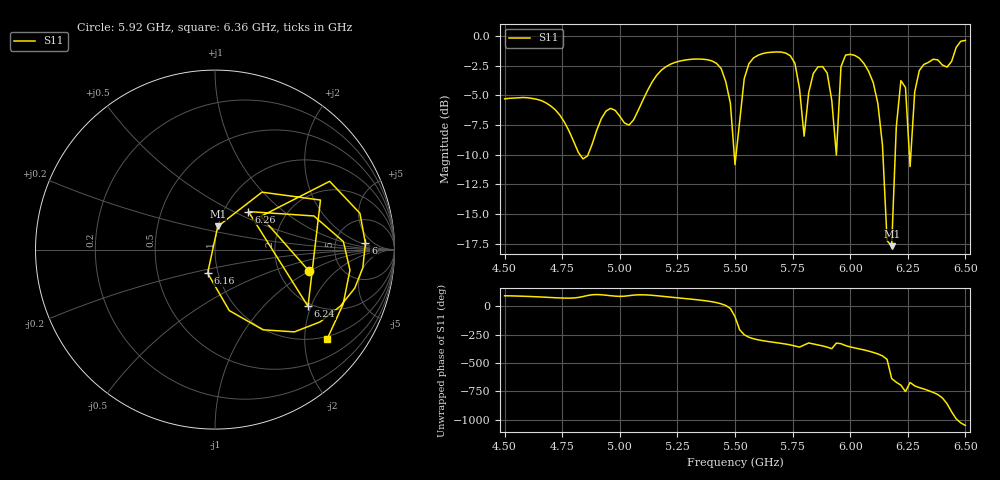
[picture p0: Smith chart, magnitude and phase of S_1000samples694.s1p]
! TOUCHSTONE file generated by CST MICROWAVE STUDIO
! Date and time: Sat Oct 29 01:31:06 2022
! Project name: L.cst
! Parameters = {Di=1.27; Epsilon_r=1.56; InnerDiameter=1.27; Length=2; Lf=10; Lg=60; OuterConductorThickness=0.2921; OuterDiameter=3.6; Wf=3; Wp=41.2; de=1.5; df=6.8; g=0.8; gx=1.15863; gy=2.7137; h=2.34; hf=1.524; px=14.6149; py=14.3846; w=9.7; wx=13.4562; wy=11.6709}
! Header version: 2018
! Port assignment regex: !\s*Touchstone port\s*([0-9]+)\s*=\s*(CST MWS port|CST DS port)\s*([0-9]+|Zmin|Zmax)\s*\(\"(.*)\"\)(\s*mode\s*([0-9]+))?.*
! Touchstone port assignment:
! Touchstone port 1 = CST MWS port 1 ("")
# GHz S DB R 50
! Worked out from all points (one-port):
!   101 points, 4.5 GHz to 6.5 GHz, reference 50 ohm
!   lowest |S11| = -17.7 dB at 6.18 GHz (marker M1), VSWR 1.30, Z = 49.8 + j13.1 ohm
!   |S11| at or under -10 dB: 4.828 GHz to 4.862 GHz (34.35 MHz wide, 0.709 % of centre); 5.496794 GHz to 5.504607 GHz (7.813 MHz wide, 0.142 % of centre); 6.142 GHz to 6.195 GHz (53.26 MHz wide, 0.863 % of centre) (the widest 3 of 5)
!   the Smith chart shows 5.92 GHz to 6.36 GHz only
!   S11 on the Smith chart (normalised r, x): 5.92 GHz: 2.95, -0.99; 6 GHz: 11, +3; 6.16 GHz: 0.89, -0.24; 6.24 GHz: 1.90, -1.90; 6.26 GHz: 1.30, +0.60; 6.36 GHz: 0.92, -2.55
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4.5  -5.29 93.4
4.76  -7.26 72.8
5  -6.75 88.0
5.26  -2.10 73.4
5.44  -2.73 22.0
5.5  -10.83 -91.3
5.52  -7.23 154.1
5.56  -2.33 87.8
5.76  -2.28 10.6
5.8  -8.43 19.3
5.84  -3.14 28.4
5.92  -5.40 -12.8
5.94  -10.02 35.9
5.96  -2.57 30.8
6  -1.53 2.5
6.1  -3.92 -46.0
6.16  -17.23 -107.4
6.18  -17.70 83.2
6.22  -3.75 25.2
6.24  -4.33 -31.4
6.26  -10.99 48.7
6.3  -2.89 3.6
6.36  -1.94 -38.7
6.4  -2.43 -87.2
6.42  -2.61 -137.5
6.44  -2.14 150.6
6.46  -0.95 88.0
6.5  -0.36 29.8
